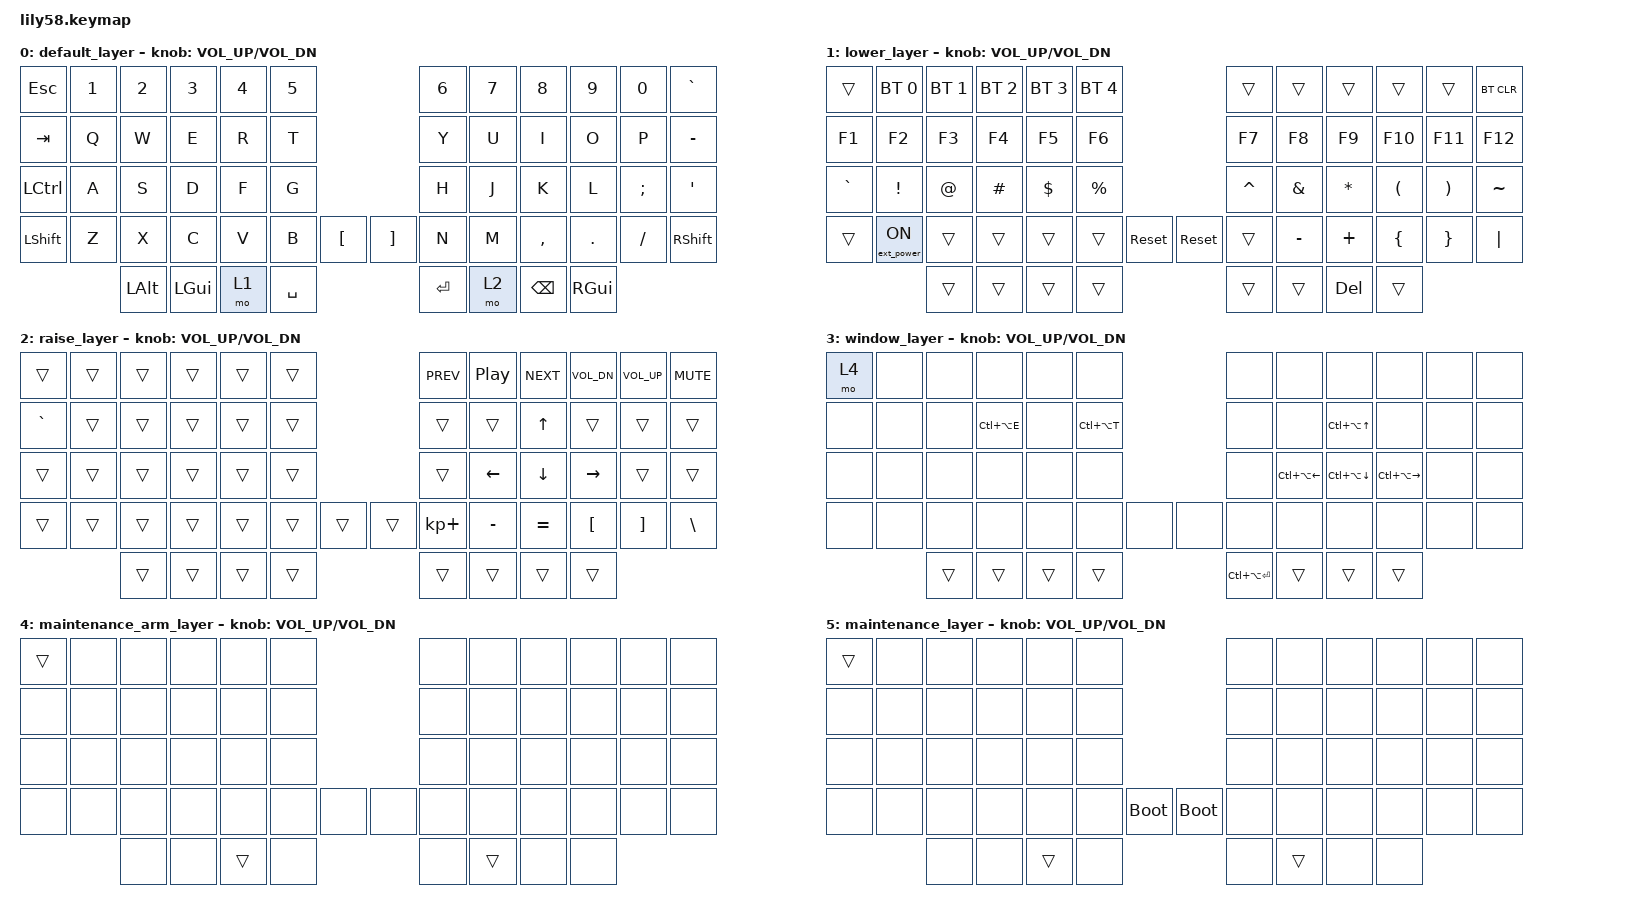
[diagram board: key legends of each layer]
/*
 * Copyright (c) 2020 The ZMK Contributors
 *
 * SPDX-License-Identifier: MIT
 */

#include <behaviors.dtsi>
#include <dt-bindings/zmk/keys.h>
#include <dt-bindings/zmk/bt.h>
#include <dt-bindings/zmk/ext_power.h>

/ {
    conditional_layers {
        compatible = "zmk,conditional-layers";
        window_controls {
            if-layers = <1 2>;
            then-layer = <3>;
        };
        maintenance_controls {
            if-layers = <1 2 4>;
            then-layer = <5>;
        };
    };

    keymap {
        compatible = "zmk,keymap";

        default_layer {
            // Blank = transparent (inherits); --- = no action.
            // |   ESC    |    1     |    2     |    3     |    4     |    5     |          |  |          |    6     |    7     |    8     |    9     |    0     |    `     |
            // |   TAB    |    Q     |    W     |    E     |    R     |    T     |          |  |          |    Y     |    U     |    I     |    O     |    P     |    -     |
            // |   CTRL   |    A     |    S     |    D     |    F     |    G     |          |  |          |    H     |    J     |    K     |    L     |    ;     |    '     |
            // |  SHIFT   |    Z     |    X     |    C     |    V     |    B     |    [     |  |    ]     |    N     |    M     |    ,     |    .     |    /     |  SHIFT   |
            // |          |          |   OPT    |   CMD    |  LOWER   |  SPACE   |          |  |          |  ENTER   |  RAISE   |   BSPC   |   CMD    |          |          |
            bindings = <
                &kp ESC    &kp N1  &kp N2    &kp N3    &kp N4  &kp N5                         &kp N6   &kp N7  &kp N8     &kp N9    &kp N0    &kp GRAVE
                &kp TAB    &kp Q   &kp W     &kp E     &kp R   &kp T                          &kp Y    &kp U   &kp I      &kp O     &kp P     &kp MINUS
                &kp LCTRL  &kp A   &kp S     &kp D     &kp F   &kp G                          &kp H    &kp J   &kp K      &kp L     &kp SEMI  &kp SQT
                &kp LSHFT  &kp Z   &kp X     &kp C     &kp V   &kp B      &kp LBKT  &kp RBKT  &kp N    &kp M   &kp COMMA  &kp DOT   &kp FSLH  &kp RSHFT
                                   &kp LALT  &kp LGUI  &mo 1   &kp SPACE                      &kp RET  &mo 2   &kp BSPC   &kp RGUI
            >;
            sensor-bindings = <&inc_dec_kp C_VOL_UP C_VOL_DN>;
        };

        lower_layer {
            // LOWER + Z: external power on; Grave: Bluetooth clear; Backspace: Delete.
            // LOWER + either inner bracket: reset that half.
            // Blank = transparent (inherits); --- = no action.
            // |          |   BT 1   |   BT 2   |   BT 3   |   BT 4   |   BT 5   |          |  |          |          |          |          |          |          | BT CLEAR |
            // |    F1    |    F2    |    F3    |    F4    |    F5    |    F6    |          |  |          |    F7    |    F8    |    F9    |   F10    |   F11    |   F12    |
            // |    `     |    !     |    @     |    #     |    $     |    %     |          |  |          |    ^     |    &     |    *     |    (     |    )     |    ~     |
            // |          |  PWR ON  |          |          |          |          |  RESET   |  |  RESET   |          |    -     |    +     |    {     |    }     |   PIPE   |
            // |          |          |          |          |          |          |          |  |          |          |          |  DELETE  |          |          |          |
            bindings = <
                &trans     &bt BT_SEL 0      &bt BT_SEL 1  &bt BT_SEL 2  &bt BT_SEL 3  &bt BT_SEL 4                          &trans     &trans     &trans     &trans    &trans    &bt BT_CLR
                &kp F1     &kp F2            &kp F3        &kp F4        &kp F5        &kp F6                                &kp F7     &kp F8     &kp F9     &kp F10   &kp F11   &kp F12
                &kp GRAVE  &kp EXCL          &kp AT        &kp HASH      &kp DOLLAR    &kp PRCNT                             &kp CARET  &kp AMPS   &kp ASTRK  &kp LPAR  &kp RPAR  &kp TILDE
                &trans     &ext_power EP_ON  &trans        &trans        &trans        &trans        &sys_reset  &sys_reset  &trans     &kp MINUS  &kp PLUS   &kp LBRC  &kp RBRC  &kp PIPE
                                             &trans        &trans        &trans        &trans                                &trans     &trans     &kp DEL    &trans
            >;
            sensor-bindings = <&inc_dec_kp C_VOL_UP C_VOL_DN>;
        };

        raise_layer {
            // Top-right row (6, 7, 8, 9, 0, Grave):
            // Previous, Play/Pause, Next, Volume Down, Volume Up, Mute.
            // Arrows: I = Up; J = Left; K = Down; L = Right.
            // Inner bracket keys inherit their base-layer bracket characters.
            // Former second-row number bindings now fall through to base letters.
            // Blank = transparent (inherits); --- = no action.
            // |          |          |          |          |          |          |          |  |          |   PREV   |PLAY/PAUSE|   NEXT   |   VOL-   |   VOL+   |   MUTE   |
            // |    `     |          |          |          |          |          |          |  |          |          |          |    UP    |          |          |          |
            // |          |          |          |          |          |          |          |  |          |          |   LEFT   |   DOWN   |  RIGHT   |          |          |
            // |          |          |          |          |          |          |          |  |          |   KP+    |    -     |    =     |    [     |    ]     |    \     |
            // |          |          |          |          |          |          |          |  |          |          |          |          |          |          |          |
            bindings = <
                &trans     &trans  &trans  &trans   &trans   &trans                   &kp C_PREV   &kp C_PP   &kp C_NEXT  &kp C_VOL_DN  &kp C_VOL_UP  &kp C_MUTE
                &kp GRAVE  &trans  &trans  &trans   &trans   &trans                   &trans       &trans     &kp UP      &trans        &trans        &trans
                &trans     &trans  &trans  &trans   &trans   &trans                   &trans       &kp LEFT   &kp DOWN    &kp RIGHT     &trans        &trans
                &trans     &trans  &trans  &trans  &trans  &trans  &trans  &trans  &kp KP_PLUS  &kp MINUS  &kp EQUAL   &kp LBKT      &kp RBKT      &kp BSLH
                                   &trans  &trans   &trans   &trans                   &trans       &trans     &trans      &trans
            >;
            sensor-bindings = <&inc_dec_kp C_VOL_UP C_VOL_DN>;
        };

        window_layer {
            // Hold LOWER + RAISE, in either order; release either to leave.
            // Rectangle: I/J/K/L = halves; T/E = right/left two-thirds; Enter = maximize.
            // Hold Esc to arm maintenance; unassigned finger keys do nothing.
            // Blank = transparent (inherits); --- = no action.
            // |MAINT HOLD|   ---    |   ---    |   ---    |   ---    |   ---    |          |  |          |   ---    |   ---    |   ---    |   ---    |   ---    |   ---    |
            // |   ---    |   ---    |   ---    | LEFT 2/3 |   ---    |RIGHT 2/3 |          |  |          |   ---    |   ---    | TOP 1/2  |   ---    |   ---    |   ---    |
            // |   ---    |   ---    |   ---    |   ---    |   ---    |   ---    |          |  |          |   ---    | LEFT 1/2 |BOTTOM 1/2|RIGHT 1/2 |   ---    |   ---    |
            // |   ---    |   ---    |   ---    |   ---    |   ---    |   ---    |   ---    |  |   ---    |   ---    |   ---    |   ---    |   ---    |   ---    |   ---    |
            // |          |          |          |          |          |          |          |  |          | MAXIMIZE |          |          |          |          |          |
            bindings = <
                &mo 4  &none  &none   &none          &none   &none                        &none   &none             &none             &none              &none  &none
                &none  &none  &none   &kp LC(LA(E))  &none   &kp LC(LA(T))                &none   &none             &kp LC(LA(UP))    &none              &none  &none
                &none  &none  &none   &none          &none   &none                        &none   &kp LC(LA(LEFT))  &kp LC(LA(DOWN))  &kp LC(LA(RIGHT))  &none  &none
                &none  &none  &none   &none          &none   &none          &none  &none  &none   &none             &none             &none              &none  &none
                              &trans  &trans         &trans  &trans                       &kp LC(LA(RET))  &trans     &trans            &trans
            >;
            sensor-bindings = <&inc_dec_kp C_VOL_UP C_VOL_DN>;
        };

        maintenance_arm_layer {
            // Internal arming layer. Bootloader remains blocked unless LOWER and RAISE are both held.
            // Blank = transparent (inherits); --- = no action.
            // |          |   ---    |   ---    |   ---    |   ---    |   ---    |          |  |          |   ---    |   ---    |   ---    |   ---    |   ---    |   ---    |
            // |   ---    |   ---    |   ---    |   ---    |   ---    |   ---    |          |  |          |   ---    |   ---    |   ---    |   ---    |   ---    |   ---    |
            // |   ---    |   ---    |   ---    |   ---    |   ---    |   ---    |          |  |          |   ---    |   ---    |   ---    |   ---    |   ---    |   ---    |
            // |   ---    |   ---    |   ---    |   ---    |   ---    |   ---    |   ---    |  |   ---    |   ---    |   ---    |   ---    |   ---    |   ---    |   ---    |
            // |          |          |   ---    |   ---    |          |   ---    |          |  |          |   ---    |          |   ---    |   ---    |          |          |
            bindings = <
                &trans  &none  &none  &none  &none   &none                &none  &none   &none  &none  &none  &none
                &none   &none  &none  &none  &none   &none                &none  &none   &none  &none  &none  &none
                &none   &none  &none  &none  &none   &none                &none  &none   &none  &none  &none  &none
                &none   &none  &none  &none  &none   &none  &none  &none  &none  &none   &none  &none  &none  &none
                               &none  &none  &trans  &none                &none  &trans  &none  &none
            >;
            sensor-bindings = <&inc_dec_kp C_VOL_UP C_VOL_DN>;
        };

        maintenance_layer {
            // Hold LOWER + RAISE, then hold Esc, then tap the target half's inner bracket. Release any hold to disarm.
            // Blank = transparent (inherits); --- = no action.
            // |          |   ---    |   ---    |   ---    |   ---    |   ---    |          |  |          |   ---    |   ---    |   ---    |   ---    |   ---    |   ---    |
            // |   ---    |   ---    |   ---    |   ---    |   ---    |   ---    |          |  |          |   ---    |   ---    |   ---    |   ---    |   ---    |   ---    |
            // |   ---    |   ---    |   ---    |   ---    |   ---    |   ---    |          |  |          |   ---    |   ---    |   ---    |   ---    |   ---    |   ---    |
            // |   ---    |   ---    |   ---    |   ---    |   ---    |   ---    |   BOOT   |  |   BOOT   |   ---    |   ---    |   ---    |   ---    |   ---    |   ---    |
            // |          |          |   ---    |   ---    |          |   ---    |          |  |          |   ---    |          |   ---    |   ---    |          |          |
            bindings = <
                &trans  &none  &none  &none  &none   &none                            &none  &none   &none  &none  &none  &none
                &none   &none  &none  &none  &none   &none                            &none  &none   &none  &none  &none  &none
                &none   &none  &none  &none  &none   &none                            &none  &none   &none  &none  &none  &none
                &none   &none  &none  &none  &none   &none  &bootloader  &bootloader  &none  &none   &none  &none  &none  &none
                               &none  &none  &trans  &none                            &none  &trans  &none  &none
            >;
            sensor-bindings = <&inc_dec_kp C_VOL_UP C_VOL_DN>;
        };
    };
};
